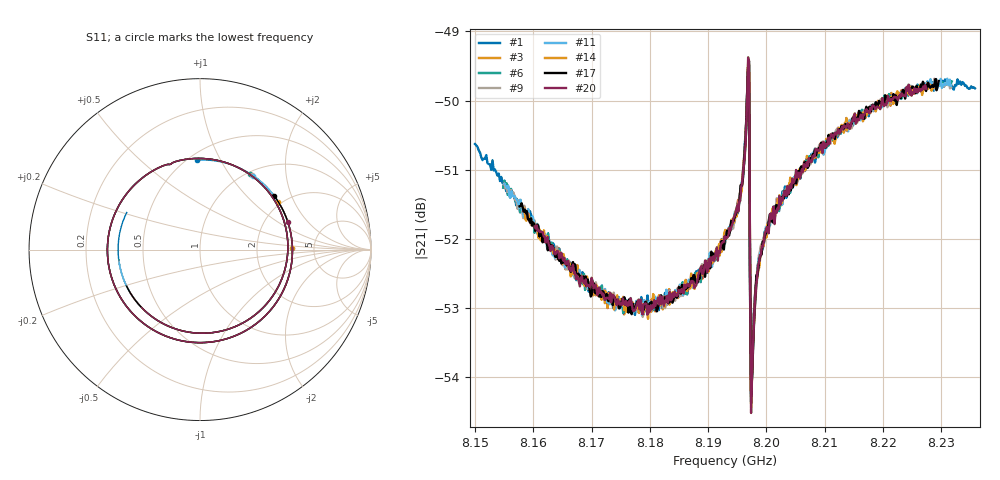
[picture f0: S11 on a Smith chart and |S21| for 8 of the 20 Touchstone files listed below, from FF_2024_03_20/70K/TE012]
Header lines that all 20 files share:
#  HZ  S  RI  R  50.00
! Rohde & Schwarz Vector Network Analyzer
! Rohde-Schwarz,ZNB20-2Port,1311601062101988,3.16
! freq[Hz]  re:S11  im:S11  re:S21  im:S21  re:S12  im:S12  re:S22  im:S22
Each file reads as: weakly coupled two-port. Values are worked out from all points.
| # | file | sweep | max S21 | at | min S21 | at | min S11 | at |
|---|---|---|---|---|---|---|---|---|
| 1 | 0_2_68.5002_70.0413284_67146.242_1.7089693546295166_.s2p | 8.15 GHz to 8.2358 GHz | -49.42 dB | 8.197 GHz | -54.2 dB | 8.1974 GHz | -6.4 dB | 8.2315 GHz |
| 2 | 1_2_68.5_70.0366745_66856.664_4.13682746887207_.s2p | 8.1542 GHz to 8.2323 GHz | -49.35 dB | 8.19698 GHz | -54.3 dB | 8.19737 GHz | -6.4 dB | 8.23235 GHz |
| 3 | 2_2_68.4997_70.0382309_66657.07_6.559243679046631_.s2p | 8.1625 GHz to 8.2256 GHz | -49.46 dB | 8.19688 GHz | -54.2 dB | 8.19735 GHz | -6.3 dB | 8.22558 GHz |
| 4 | 3_2_68.5_70.0358429_66377.148_8.994417428970337_.s2p | 8.1583 GHz to 8.229 GHz | -49.54 dB | 8.19701 GHz | -54.4 dB | 8.19737 GHz | -6.4 dB | 8.22904 GHz |
| 5 | 4_2_68.5004_70.0358429_66157.758_11.434452056884766_.s2p | 8.1526 GHz to 8.2337 GHz | -49.44 dB | 8.197 GHz | -54.3 dB | 8.19741 GHz | -6.4 dB | 8.2313 GHz |
| 6 | 5_2_68.5004_70.0373611_65887.992_14.00352144241333_.s2p | 8.1548 GHz to 8.2319 GHz | -49.46 dB | 8.197 GHz | -54.4 dB | 8.19738 GHz | -6.4 dB | 8.23147 GHz |
| 7 | 6_2_68.5_70.0403976_65628.344_16.415672540664673_.s2p | 8.157 GHz to 8.2301 GHz | -49.46 dB | 8.19702 GHz | -54.3 dB | 8.19739 GHz | -6.4 dB | 8.23006 GHz |
| 8 | 7_2_68.5006_70.0387726_65398.855_18.84753179550171_.s2p | 8.1567 GHz to 8.2303 GHz | -49.46 dB | 8.19702 GHz | -54.4 dB | 8.19738 GHz | -6.4 dB | 8.23034 GHz |
| 9 | 8_2_68.5002_70.0422363_65169.113_21.285104990005493_.s2p | 8.155 GHz to 8.2317 GHz | -49.41 dB | 8.19701 GHz | -54.3 dB | 8.19739 GHz | -6.4 dB | 8.23172 GHz |
| 10 | 9_2_68.5003_70.0436401_64909.277_23.717121839523315_.s2p | 8.1593 GHz to 8.2282 GHz | -49.42 dB | 8.19702 GHz | -54.3 dB | 8.19737 GHz | -6.4 dB | 8.22823 GHz |
| 11 | 10_2_68.5002_70.0433121_64659.699_26.158280611038208_.s2p | 8.1551 GHz to 8.2317 GHz | -49.44 dB | 8.19701 GHz | -54.2 dB | 8.19739 GHz | -6.4 dB | 8.23147 GHz |
| 12 | 11_2_68.4996_70.0396347_64450.125_28.564530611038208_.s2p | 8.1556 GHz to 8.2312 GHz | -49.40 dB | 8.19701 GHz | -54.3 dB | 8.19739 GHz | -6.4 dB | 8.23122 GHz |
| 13 | 12_2_68.4999_70.039856_64190.449_30.970945119857788_.s2p | 8.155 GHz to 8.2317 GHz | -49.38 dB | 8.19701 GHz | -54.4 dB | 8.19739 GHz | -6.4 dB | 8.23131 GHz |
| 14 | 13_2_68.5002_70.0406113_63940.559_33.3852219581604_.s2p | 8.1583 GHz to 8.2291 GHz | -49.49 dB | 8.19703 GHz | -54.4 dB | 8.19739 GHz | -6.4 dB | 8.22906 GHz |
| 15 | 14_2_68.5004_70.045372_63710.324_35.91333246231079_.s2p | 8.1543 GHz to 8.2323 GHz | -49.42 dB | 8.19702 GHz | -54.3 dB | 8.19741 GHz | -6.4 dB | 8.23211 GHz |
| 16 | 15_2_68.4999_70.0448303_63451.039_38.31989049911499_.s2p | 8.1577 GHz to 8.2295 GHz | -49.39 dB | 8.19702 GHz | -54.4 dB | 8.19738 GHz | -6.4 dB | 8.22931 GHz |
| 17 | 16_2_68.5002_70.0451584_63251.41_40.71924138069153_.s2p | 8.1576 GHz to 8.2296 GHz | -49.43 dB | 8.19703 GHz | -54.3 dB | 8.19739 GHz | -6.4 dB | 8.22959 GHz |
| 18 | 17_2_68.4987_70.0430984_62981.75_43.11640667915344_.s2p | 8.1561 GHz to 8.2308 GHz | -49.36 dB | 8.19702 GHz | -54.4 dB | 8.1974 GHz | -6.4 dB | 8.23081 GHz |
| 19 | 18_2_68.5005_70.0461349_62122.734_51.6820068359375_.s2p | 8.1604 GHz to 8.2273 GHz | -49.31 dB | 8.19703 GHz | -54.4 dB | 8.19737 GHz | -6.3 dB | 8.22728 GHz |
| 20 | 19_2_68.5004_70.0449371_61893.422_54.113203287124634_.s2p | 8.1603 GHz to 8.2275 GHz | -49.37 dB | 8.19688 GHz | -54.5 dB | 8.19738 GHz | -6.4 dB | 8.22746 GHz |
